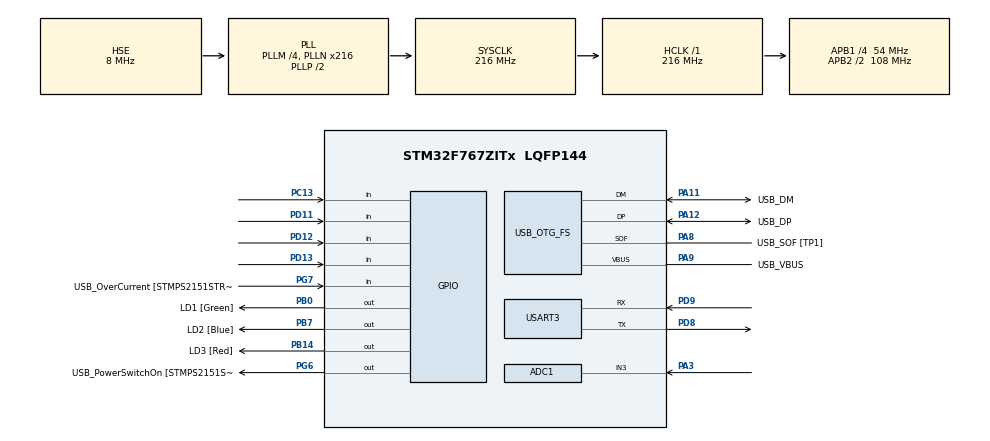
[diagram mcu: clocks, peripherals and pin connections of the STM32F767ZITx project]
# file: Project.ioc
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ADC1.Channel-0\#ChannelRegularConversion=ADC_CHANNEL_3
ADC1.ExternalTrigConv=ADC_EXTERNALTRIGCONV_T2_TRGO
ADC1.NbrOfConversionFlag=1
ADC1.Rank-0\#ChannelRegularConversion=1
ADC1.SamplingTime-0\#ChannelRegularConversion=ADC_SAMPLETIME_3CYCLES
ADC1.master=1
Mcu.Family=STM32F7
Mcu.Name=STM32F767ZITx
Mcu.Package=LQFP144
NVIC.ADC_IRQn=true\:2\:0\:true\:false\:true\:true\:true\:true
NVIC.PriorityGroup=NVIC_PRIORITYGROUP_2
NVIC.TIM1_UP_TIM10_IRQn=true\:1\:0\:true\:false\:true\:true\:true\:true
NVIC.TIM2_IRQn=true\:2\:0\:true\:false\:true\:true\:true\:true
PA1.GPIO_Label=RMII_REF_CLK [LAN8742A-CZ-TR_REFCLK0]
PA1.Signal=ETH_REF_CLK
PA10.GPIO_Label=USB_ID
PA10.Signal=USB_OTG_FS_ID
PA11.GPIO_Label=USB_DM
PA11.Mode=Device_Only
PA11.Signal=USB_OTG_FS_DM
PA12.GPIO_Label=USB_DP
PA12.Mode=Device_Only
PA12.Signal=USB_OTG_FS_DP
PA13.GPIO_Label=TMS
PA13.Mode=Serial_Wire
PA13.Signal=SYS_JTMS-SWDIO
PA14.GPIO_Label=TCK
PA14.Mode=Serial_Wire
PA14.Signal=SYS_JTCK-SWCLK
PA2.GPIO_Label=RMII_MDIO [LAN8742A-CZ-TR_MDIO]
PA2.Signal=ETH_MDIO
PA3.Signal=ADCx_IN3
PA7.GPIO_Label=RMII_CRS_DV [LAN8742A-CZ-TR_CRS_DV]
PA7.Signal=ETH_CRS_DV
PA8.GPIO_Label=USB_SOF [TP1]
PA8.Mode=Activate_SOF_FS
PA8.Signal=USB_OTG_FS_SOF
PA9.GPIO_Label=USB_VBUS
PA9.Mode=Activate_VBUS
PA9.Signal=USB_OTG_FS_VBUS
PB0.GPIO_Label=LD1 [Green]
PB0.Signal=GPIO_Output
PB13.GPIO_Label=RMII_TXD1 [LAN8742A-CZ-TR_TXD1]
PB13.Signal=ETH_TXD1
PB14.GPIO_Label=LD3 [Red]
PB14.Signal=GPIO_Output
PB3.GPIO_Label=SWO
PB3.Signal=SYS_JTDO-SWO
PB7.GPIO_Label=LD2 [Blue]
PB7.Signal=GPIO_Output
PC1.GPIO_Label=RMII_MDC [LAN8742A-CZ-TR_MDC]
PC1.Signal=ETH_MDC
PC13.Signal=GPIO_Input
PC14/OSC32_IN.Mode=LSE-External-Oscillator
PC14/OSC32_IN.Signal=RCC_OSC32_IN
PC15/OSC32_OUT.Mode=LSE-External-Oscillator
PC15/OSC32_OUT.Signal=RCC_OSC32_OUT
PC4.GPIO_Label=RMII_RXD0 [LAN8742A-CZ-TR_RXD0]
PC4.Signal=ETH_RXD0
PC5.GPIO_Label=RMII_RXD1 [LAN8742A-CZ-TR_RXD1]
PC5.Signal=ETH_RXD1
PD11.Signal=GPIO_Input
PD12.Signal=GPIO_Input
PD13.Signal=GPIO_Input
PD8.Mode=Asynchronous
PD8.Signal=USART3_TX
PD9.Mode=Asynchronous
PD9.Signal=USART3_RX
PG11.GPIO_Label=RMII_TX_EN [LAN8742A-CZ-TR_TXEN]
PG11.Signal=ETH_TX_EN
PG13.GPIO_Label=RMII_TXD0 [LAN8742A-CZ-TR_TXD0]
PG13.Signal=ETH_TXD0
PG6.GPIO_Label=USB_PowerSwitchOn [STMPS2151STR_EN]
PG6.Signal=GPIO_Output
PG7.GPIO_Label=USB_OverCurrent [STMPS2151STR_FAULT]
PG7.Signal=GPIO_Input
PH0/OSC_IN.GPIO_Label=MCO [STM32F103CBT6_PA8]
PH0/OSC_IN.Mode=HSE-External-Clock-Source
PH0/OSC_IN.Signal=RCC_OSC_IN
PH1/OSC_OUT.Mode=HSE-External-Clock-Source
PH1/OSC_OUT.Signal=RCC_OSC_OUT
ProjectManager.HeapSize=0x200
ProjectManager.StackSize=0x400
ProjectManager.TargetToolchain=STM32CubeIDE
RCC.48MHZClocksFreq_Value=24000000
RCC.AHBFreq_Value=216000000
RCC.APB1CLKDivider=RCC_HCLK_DIV4
RCC.APB1Freq_Value=54000000
RCC.APB1TimFreq_Value=108000000
RCC.APB2CLKDivider=RCC_HCLK_DIV2
RCC.APB2Freq_Value=108000000
RCC.APB2TimFreq_Value=216000000
RCC.CortexFreq_Value=216000000
RCC.HCLKFreq_Value=216000000
RCC.HSE_VALUE=8000000
RCC.HSI_VALUE=16000000
RCC.PLLM=4
RCC.PLLMUL=RCC_PLL_MUL9
RCC.PLLN=216
RCC.PLLQ=9
RCC.PRESCALERUSB=RCC_USBCLKSOURCE_PLL_DIV1_5
RCC.SYSCLKFreq_VALUE=216000000
RCC.SYSCLKSource=RCC_SYSCLKSOURCE_PLLCLK
RCC.SYSCLKSourceVirtual=RCC_SYSCLKSOURCE_PLLCLK
RCC.USBFreq_Value=48000000
RCC.VCOOutputFreq_Value=432000000
SH.ADCx_IN3.0=ADC1_IN3,IN3
TIM1.Period=10000-1
TIM1.Prescaler=21600-1
TIM2.Period=10000-1
TIM2.Prescaler=180-1
TIM2.TIM_MasterOutputTrigger=TIM_TRGO_UPDATE
USART3.VirtualMode-Asynchronous=VM_ASYNC
USB_OTG_FS.VirtualMode=Device_Only
VP_TIM1_VS_ClockSourceINT.Mode=Internal
VP_TIM2_VS_ClockSourceINT.Mode=Internal
board=NUCLEO-F767ZI

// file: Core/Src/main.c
/* USER CODE BEGIN Header */
/**
  ******************************************************************************
  * @file           : main.c
  * @brief          : Main program body
  ******************************************************************************
  * @attention
  *
  * Copyright (c) 2025 STMicroelectronics.
  * All rights reserved.
  *
  * This software is licensed under terms that can be found in the LICENSE file
  * in the root directory of this software component.
  * If no LICENSE file comes with this software, it is provided AS-IS.
  *
  ******************************************************************************
  */
/* USER CODE END Header */
#include "main.h"
#include "adc.h"
#include "tim.h"
#include "usart.h"
#include "usb_otg.h"
#include "gpio.h"

/* USER CODE BEGIN Includes */
#include <stdio.h>
#include "string.h"
#include <stdlib.h>
#include <time.h>
/* USER CODE END Includes */

/* USER CODE BEGIN PTD */
typedef enum {
    STATE_MENU,
    STATE_RUNNING,
    STATE_CRASH
} GameState;

typedef enum {
    Stand,
    Walk,
    Jump
} Action;
/* USER CODE END PTD */

/* USER CODE BEGIN PD */
#define MAX_ENEMY 3
/* USER CODE END PD */

/* USER CODE BEGIN PV */
int score;
GameState state;
Action bicycleAction;
uint8_t tim1;
uint8_t tim2;
uint8_t playerX;
uint8_t playerY;
uint8_t enemyIndex;
uint8_t amountEnemy = 3;
uint8_t enemy[MAX_ENEMY];
uint8_t enemyX[MAX_ENEMY];
uint8_t enemyY[MAX_ENEMY];
uint8_t timeToSpawnEnemy = 3;
uint8_t currentTimeToSpawnEnemy;
/* USER CODE END PV */

void SystemClock_Config(void);

/* USER CODE BEGIN 0 */
void Init()
{
    score = 0;
    state = STATE_MENU;
    bicycleAction = Stand;
    tim1 = 0;
    tim2 = 0;
    playerX = 1;
    playerY = 3;
    enemyIndex = 0;
    for (int i = 0; i < MAX_ENEMY; i++) {
        enemy[i] = 0;
        enemyX[i] = 0;
        enemyY[i] = 0;
    }
    currentTimeToSpawnEnemy = 0;
}

//check coolision with player
void CheckCollision(int i)
{
	if(enemyX[i] == playerX && enemyY[i] == playerY)
	{
		state = STATE_CRASH;
	}
}

//update enemy position
void UpdateEnemyPosition()
{
	for(int i = 0; i < amountEnemy; i++)
	{
		if(enemy[i] > 0)
		{
			enemyY[i] += 1;
			if(enemyY[i] > 3)
			{
				enemy[i] = 0;
				enemyY[i] = 0;
			}
			CheckCollision(i);
		}
	}
}

//spawn enemy position
void SpawnEnemy()
{
	if(currentTimeToSpawnEnemy > timeToSpawnEnemy)
	{
		enemy[enemyIndex] = 1;
		enemyX[enemyIndex] = rand() % 3;
		enemyIndex = (enemyIndex + 1) % amountEnemy;
		currentTimeToSpawnEnemy = 0;
	}
	else
	{
		currentTimeToSpawnEnemy++;
	}
}

char* RenderEnemyAndPlayer()
{
	static char road[100];
	sprintf(road, "...\n\r...\n\r...\n\r...\n\r\n\nScore : %d", score);
	int characterPosition = playerX + (playerY * 5);
	road[characterPosition] = '0';
	for(int i = 0; i < amountEnemy; i++)
	{
		if(enemy[i] > 0)
		{
			int enemyPosition = enemyX[i] + (enemyY[i] * 5);
			if(characterPosition == enemyPosition)
			{
				road[enemyPosition] = 'x';
			}
			else
			{
				road[enemyPosition] = '*';
			}
		}
	}
	return road;
}

// wait for input
void HandleInput()
{
    switch (state)
    {
        case STATE_MENU:
             if (HAL_GPIO_ReadPin(GPIOC, GPIO_PIN_13) == GPIO_PIN_SET) //Start game
             {
                 state = STATE_RUNNING;
             }
            break;

        case STATE_RUNNING:
             if (HAL_GPIO_ReadPin(GPIOD, GPIO_PIN_11) == GPIO_PIN_RESET) //Turn left
             {
            	 if(playerX > 0)
            	 {
            		 playerX--;
            	 }
             }
             if (HAL_GPIO_ReadPin(GPIOD, GPIO_PIN_12) == GPIO_PIN_RESET) //Turn Right
             {
            	 if(playerX < 2)
            	 {
            		 playerX++;
            	 }
             }
             if (HAL_GPIO_ReadPin(GPIOD, GPIO_PIN_13) == GPIO_PIN_RESET) //Jump
             {
                 bicycleAction = Jump;
             }
            break;

        case STATE_CRASH:
        	if (HAL_GPIO_ReadPin(GPIOC, GPIO_PIN_13) == GPIO_PIN_SET) //go to main menu
        	{
        		Init();
        	}
            break;

        default:
            break;
    }
}

// update bicycle position
void Update()
{
	if(tim1)
    switch (state)
    {
        case STATE_RUNNING:
        	score++;
        	UpdateEnemyPosition();
        	SpawnEnemy();
            break;

        default:
            break;
    }
}

// show bicycle position
void Render()
{
	if(__HAL_UART_GET_FLAG(&huart3, UART_FLAG_TC) == SET)
	{
		char clear[] = "\033[2J\033[H";
		HAL_UART_Transmit(&huart3, (uint8_t*)clear, strlen(clear), HAL_MAX_DELAY);
		switch (state)
		{
        	case STATE_MENU:
        		char welcome[] = "Welcome To Bicycle Game\nPress Button to start";
        		HAL_UART_Transmit(&huart3, (uint8_t*)welcome, strlen(welcome), HAL_MAX_DELAY);
        		break;

        	case STATE_RUNNING:
        	case STATE_CRASH:
        		char *road = RenderEnemyAndPlayer();
        		HAL_UART_Transmit(&huart3, (uint8_t*)road, strlen(road), HAL_MAX_DELAY);
        		break;

        	default:
        		break;
		}
	}
}
/* USER CODE END 0 */

int main(void)
{

  /* MCU Configuration--------------------------------------------------------*/

  /* Reset of all peripherals, Initializes the Flash interface and the Systick. */
  HAL_Init();

  /* Configure the system clock */
  SystemClock_Config();

  /* Initialize all configured peripherals */
  MX_GPIO_Init();
  MX_USART3_UART_Init();
  MX_USB_OTG_FS_PCD_Init();
  MX_TIM2_Init();
  MX_ADC1_Init();
  MX_TIM1_Init();
  /* USER CODE BEGIN 2 */
  srand(time(NULL));
  Init();
  HAL_TIM_Base_Start_IT(&htim1);
  HAL_TIM_Base_Start_IT(&htim2);
  /* USER CODE END 2 */

  /* Infinite loop */
  while (1)
  {

    /* USER CODE BEGIN 3 */
	  HandleInput();
	  if(tim1 > 0)
	  {
		  Update();
		  tim1 = 0;
	  }
	  if(tim2 > 0)
	  {
		  Render();
		  tim2 = 0;
	  }
  }
  /* USER CODE END 3 */
}

void SystemClock_Config(void)
{
  RCC_OscInitTypeDef RCC_OscInitStruct = {0};
  RCC_ClkInitTypeDef RCC_ClkInitStruct = {0};

  /** Configure LSE Drive Capability
  */
  HAL_PWR_EnableBkUpAccess();

  /** Configure the main internal regulator output voltage
  */
  __HAL_RCC_PWR_CLK_ENABLE();
  __HAL_PWR_VOLTAGESCALING_CONFIG(PWR_REGULATOR_VOLTAGE_SCALE1);

  /** Initializes the RCC Oscillators according to the specified parameters
  * in the RCC_OscInitTypeDef structure.
  */
  RCC_OscInitStruct.OscillatorType = RCC_OSCILLATORTYPE_HSE;
  RCC_OscInitStruct.HSEState = RCC_HSE_BYPASS;
  RCC_OscInitStruct.PLL.PLLState = RCC_PLL_ON;
  RCC_OscInitStruct.PLL.PLLSource = RCC_PLLSOURCE_HSE;
  RCC_OscInitStruct.PLL.PLLM = 4;
  RCC_OscInitStruct.PLL.PLLN = 216;
  RCC_OscInitStruct.PLL.PLLP = RCC_PLLP_DIV2;
  RCC_OscInitStruct.PLL.PLLQ = 9;
  RCC_OscInitStruct.PLL.PLLR = 2;
  if (HAL_RCC_OscConfig(&RCC_OscInitStruct) != HAL_OK)
  {
    Error_Handler();
  }

  /** Activate the Over-Drive mode
  */
  if (HAL_PWREx_EnableOverDrive() != HAL_OK)
  {
    Error_Handler();
  }

  /** Initializes the CPU, AHB and APB buses clocks
  */
  RCC_ClkInitStruct.ClockType = RCC_CLOCKTYPE_HCLK|RCC_CLOCKTYPE_SYSCLK
                              |RCC_CLOCKTYPE_PCLK1|RCC_CLOCKTYPE_PCLK2;
  RCC_ClkInitStruct.SYSCLKSource = RCC_SYSCLKSOURCE_PLLCLK;
  RCC_ClkInitStruct.AHBCLKDivider = RCC_SYSCLK_DIV1;
  RCC_ClkInitStruct.APB1CLKDivider = RCC_HCLK_DIV4;
  RCC_ClkInitStruct.APB2CLKDivider = RCC_HCLK_DIV2;

  if (HAL_RCC_ClockConfig(&RCC_ClkInitStruct, FLASH_LATENCY_7) != HAL_OK)
  {
    Error_Handler();
  }
}

void Error_Handler(void)
{
  __disable_irq();
  while (1)
  {
  }
}
